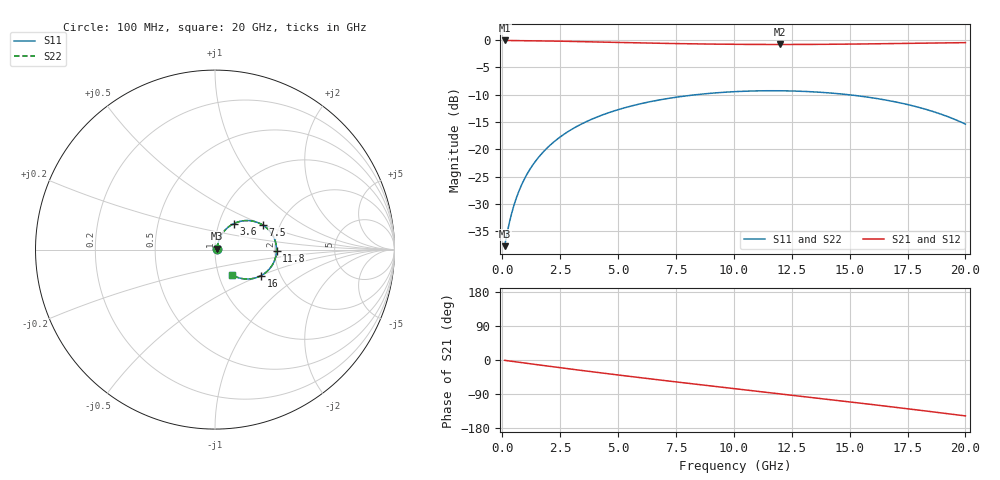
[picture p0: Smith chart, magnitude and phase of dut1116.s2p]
! Touchstone file exported from HFSS 2026.1.0
!  File:  C:/ffzhzh/LocalFiles/Ansys_Project_Files/temp_train_TSV_RDL_1116_1783305467_30076.aedt
!  Generated:  10:51:01 AM Jul  6, 2026
!  Design:  TSV_RDL
!  Project:  temp_train_TSV_RDL_1116_1783305467_30076
! Variables:
!  h_bsmrdl = 4.83um
!  h_ox = 20um
!  h_rdl = 5um
!  h_sub = 94.11um
!  h_tmrdl = 5.98um
!  h_tsv = 94.11um
!  h_via = 3um
!  l_bsmrdl = 118.37um
!  l_sub = 2312.04um
!  l_tmrdl = 365.51um
!  m_sub = 200um
!  pitch = 29.14um
!  r_tsv = 4.39um
!  s_tmrdl = 10um
!  w_bsmrdl = 15.18um
!  w_sub = 500um
!  w_tmrdl = 16.45um
!  x_tsv_center1 = 373.735um
!  x_tsv_center2 = 507.285um
!  x_tsv_center3 = 889.245um
!  x_tsv_center4 = 1022.795um
!  x_tsv_center5 = 1404.755um
!  x_tsv_center6 = 1538.305um
# GHz S MA R 50.000000
! Terminal data exported
! Port[1] = TM_RDL1_1_T1
! Port[2] = TM_RDL5_1_T1
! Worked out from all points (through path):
!   200 points, 100 MHz to 20 GHz, reference 50 ohm
!   highest |S21| = -0.10 dB at 100 MHz (marker M1); lowest = -0.8 dB at 12 GHz (marker M2)
!   group delay of S21, straight-line fit = 20.1 ps
!   lowest |S11| = -37.7 dB at 100 MHz (marker M3), VSWR 1.03, Z = 51.2 + j0.602 ohm
!   |S11| at or under -10 dB: start of sweep to 8.409 GHz; 14.9 GHz to end of sweep
!   |S22| runs from -37.7 to -9.3 dB; largest |S21 - S12| = 6.9e-14
!   S11 on the Smith chart (normalised r, x): 100 MHz: 1.02, +0.01; 3.6 GHz: 1.18, +0.35; 7.5 GHz: 1.63, +0.49; 11.8 GHz: 2.04, -0.04; 16 GHz: 1.59, -0.51; 20 GHz: 1.16, -0.34
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0.1  0.01301 26.9  0.9885 -0.9  0.9885 -0.9  0.01301 26.9
! Gamma 0 0 0 0
! Port Impedance 50 0 50 0
0.3  0.02115 51.5  0.9874 -2.5  0.9874 -2.5  0.02115 51.5
0.4  0.02578 57.1  0.987 -3.3  0.987 -3.3  0.02578 57.1
0.6  0.03551 63.2  0.9863 -5.0  0.9863 -5.0  0.03551 63.2
0.9  0.05065 66.8  0.9851 -7.4  0.9851 -7.4  0.05065 66.8
1.2  0.06594 67.5  0.9835 -9.9  0.9835 -9.9  0.06594 67.5
1.7  0.09113 66.2  0.9802 -13.9  0.9802 -13.9  0.09113 66.2
2.2  0.1155 63.5  0.9762 -17.9  0.9762 -17.9  0.1155 63.5
2.8  0.1433 59.7  0.9707 -22.7  0.9707 -22.7  0.1433 59.7
3.5  0.1736 54.9  0.9637 -28.1  0.9637 -28.1  0.1736 54.9
3.6  0.1777 54.2  0.9627 -28.9  0.9627 -28.9  0.1777 54.2
5  0.2302 44.4  0.9482 -39.5  0.9482 -39.5  0.2302 44.4
6.8  0.283 32.0  0.9312 -52.7  0.9312 -52.7  0.283 32.0
7.5  0.2991 27.3  0.9256 -57.8  0.9256 -57.8  0.2991 27.3
10.1  0.3369 9.9  0.9111 -76.1  0.9111 -76.1  0.3369 9.9
11.8  0.343 -1.4  0.9079 -88.0  0.9079 -88.0  0.343 -1.4
12  0.3428 -2.7  0.9079 -89.4  0.9079 -89.4  0.3428 -2.7
13.4  0.3353 -12.0  0.9097 -99.2  0.9097 -99.2  0.3353 -12.0
16  0.2951 -29.4  0.9205 -117.7  0.9205 -117.7  0.2951 -29.4
16.7  0.2784 -34.1  0.9245 -122.8  0.9245 -122.8  0.2784 -34.1
18.5  0.2249 -46.2  0.9356 -136.1  0.9356 -136.1  0.2249 -46.2
20  0.1698 -55.9  0.944 -147.5  0.944 -147.5  0.1698 -55.9
